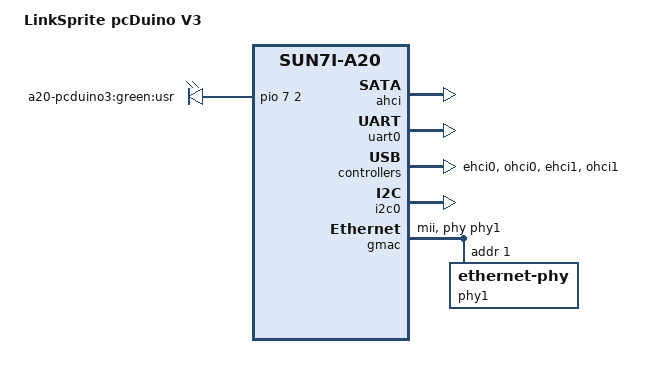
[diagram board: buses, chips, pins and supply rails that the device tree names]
/*
 * Copyright 2014 Zoltan HERPAI
 * Zoltan HERPAI <wigyori@uid0.hu>
 *
 * The code contained herein is licensed under the GNU General Public
 * License. You may obtain a copy of the GNU General Public License
 * Version 2 or later at the following locations:
 *
 * http://www.opensource.org/licenses/gpl-license.html
 * http://www.gnu.org/copyleft/gpl.html
 */

/dts-v1/;
/include/ "sun7i-a20.dtsi"
/include/ "sunxi-common-regulators.dtsi"
#include <dt-bindings/input/input.h>

/ {
	model = "LinkSprite pcDuino V3";
	compatible = "linksprite,a20-pcduino3", "allwinner,sun7i-a20";

	soc@01c00000 {
		ahci: sata@01c18000 {
			target-supply = <&reg_ahci_5v>;
 			status = "okay";
		};

		pinctrl@01c20800 {
			led_pins_pcduino3: led_pins@0 {
				allwinner,pins = "PH2";
				allwinner,function = "gpio_out";
				allwinner,drive = <1>;
				allwinner,pull = <0>;
			};
		};

		uart0: serial@01c28000 {
			pinctrl-names = "default";
			pinctrl-0 = <&uart0_pins_a>;
			status = "okay";
		};

		usbphy: phy@01c13400 {
			usb1_vbus-supply = <&reg_usb1_vbus>;
			usb2_vbus-supply = <&reg_usb2_vbus>;
			status = "okay";
		};

		ehci0: usb@01c14000 {
			status = "okay";
		};

		ohci0: usb@01c14400 {
			status = "okay";
		};

		ehci1: usb@01c1c000 {
			status = "okay";
		};

		ohci1: usb@01c1c400 {
			status = "okay";
		};

		i2c0: i2c@01c2ac00 {
			pinctrl-names = "default";
			pinctrl-0 = <&i2c0_pins_a>;
			status = "okay";
			#address-cells = <1>;
			#size-cells = <0>;
		};

		gmac: ethernet@01c50000 {
			pinctrl-names = "default";
			pinctrl-0 = <&gmac_pins_mii_a>;
			phy = <&phy1>;
			phy-mode = "mii";
			status = "okay";

			phy1: ethernet-phy@1 {
				reg = <1>;
			};
		};
	};

	leds {
		compatible = "gpio-leds";
		pinctrl-names = "default";
		pinctrl-0 = <&led_pins_pcduino3>;

		green {
			label = "a20-pcduino3:green:usr";
			gpios = <&pio 7 2 0>;
			default-state = "on";
		};
	};

	reg_usb1_vbus: usb1-vbus {
		status = "okay";
	};

	reg_usb2_vbus: usb2-vbus {
		status = "okay";
	};

	reg_ahci_5v: ahci-5v {
 		status = "okay";
	};
};
